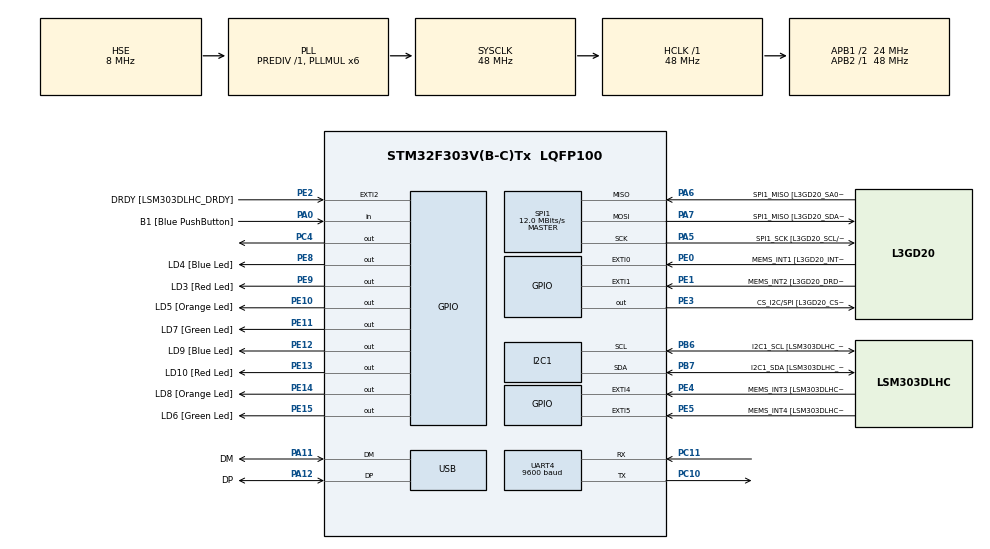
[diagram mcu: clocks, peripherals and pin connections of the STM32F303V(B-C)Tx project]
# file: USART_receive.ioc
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I2C1.Timing=0x2000090E
I2C1.Timing-I2C=0x2000090E
Mcu.Family=STM32F3
Mcu.Name=STM32F303V(B-C)Tx
Mcu.Package=LQFP100
NVIC.PriorityGroup=NVIC_PRIORITYGROUP_0
PA0.GPIO_Label=B1 [Blue PushButton]
PA0.Signal=GPIO_Input
PA11.GPIO_Label=DM
PA11.Mode=Device
PA11.Signal=USB_DM
PA12.GPIO_Label=DP
PA12.Mode=Device
PA12.Signal=USB_DP
PA13.GPIO_Label=SWDIO
PA13.Mode=Serial_Wire
PA13.Signal=SYS_JTMS-SWDIO
PA14.GPIO_Label=SWCLK
PA14.Mode=Serial_Wire
PA14.Signal=SYS_JTCK-SWCLK
PA5.GPIO_Label=SPI1_SCK [L3GD20_SCL/SPC]
PA5.Mode=Full_Duplex_Master
PA5.Signal=SPI1_SCK
PA6.GPIO_Label=SPI1_MISO [L3GD20_SA0/SDO]
PA6.Mode=Full_Duplex_Master
PA6.Signal=SPI1_MISO
PA7.GPIO_Label=SPI1_MISO [L3GD20_SDA/SDI/SDO]
PA7.Mode=Full_Duplex_Master
PA7.Signal=SPI1_MOSI
PB3.GPIO_Label=SWO
PB3.Signal=SYS_JTDO-TRACESWO
PB6.GPIO_Label=I2C1_SCL [LSM303DLHC_SCL]
PB6.GPIO_Pu=GPIO_PULLUP
PB6.Mode=I2C
PB6.Signal=I2C1_SCL
PB7.GPIO_Label=I2C1_SDA [LSM303DLHC_SDA]
PB7.GPIO_Pu=GPIO_PULLUP
PB7.Mode=I2C
PB7.Signal=I2C1_SDA
PC10.Mode=Asynchronous
PC10.Signal=UART4_TX
PC11.Mode=Asynchronous
PC11.Signal=UART4_RX
PC14-OSC32_IN.GPIO_Label=OSC32_IN
PC14-OSC32_IN.Signal=RCC_OSC32_IN
PC15-OSC32_OUT.GPIO_Label=OSC32_OUT
PC15-OSC32_OUT.Signal=RCC_OSC32_OUT
PC4.Signal=GPIO_Output
PE0.GPIO_Label=MEMS_INT1 [L3GD20_INT1]
PE0.GPIO_ModeDefaultEXTI=GPIO_MODE_EVT_RISING
PE0.Signal=GPXTI0
PE1.GPIO_Label=MEMS_INT2 [L3GD20_DRDY/INT2]
PE1.GPIO_ModeDefaultEXTI=GPIO_MODE_EVT_RISING
PE1.Signal=GPXTI1
PE10.GPIO_Label=LD5 [Orange Led]
PE10.Signal=GPIO_Output
PE11.GPIO_Label=LD7 [Green Led]
PE11.Signal=GPIO_Output
PE12.GPIO_Label=LD9 [Blue Led]
PE12.Signal=GPIO_Output
PE13.GPIO_Label=LD10 [Red Led]
PE13.Signal=GPIO_Output
PE14.GPIO_Label=LD8 [Orange Led]
PE14.Signal=GPIO_Output
PE15.GPIO_Label=LD6 [Green Led]
PE15.Signal=GPIO_Output
PE2.GPIO_Label=DRDY [LSM303DLHC_DRDY]
PE2.GPIO_ModeDefaultEXTI=GPIO_MODE_EVT_RISING
PE2.Signal=GPXTI2
PE3.GPIO_Label=CS_I2C/SPI [L3GD20_CS_I2C/SPI]
PE3.Signal=GPIO_Output
PE4.GPIO_Label=MEMS_INT3 [LSM303DLHC_INT1]
PE4.GPIO_ModeDefaultEXTI=GPIO_MODE_EVT_RISING
PE4.Signal=GPXTI4
PE5.GPIO_Label=MEMS_INT4 [LSM303DLHC_INT2]
PE5.GPIO_ModeDefaultEXTI=GPIO_MODE_EVT_RISING
PE5.Signal=GPXTI5
PE8.GPIO_Label=LD4 [Blue Led]
PE8.Signal=GPIO_Output
PE9.GPIO_Label=LD3 [Red Led]
PE9.Signal=GPIO_Output
PF0-OSC_IN.GPIO_Label=OSC_IN
PF0-OSC_IN.Mode=HSE-External-Clock-Source
PF0-OSC_IN.Signal=RCC_OSC_IN
PF1-OSC_OUT.GPIO_Label=OSC_OUT
PF1-OSC_OUT.Signal=RCC_OSC_OUT
ProjectManager.HeapSize=0x200
ProjectManager.StackSize=0x400
ProjectManager.TargetToolchain=STM32CubeIDE
RCC.AHBFreq_Value=48000000
RCC.APB1CLKDivider=RCC_HCLK_DIV2
RCC.APB1Freq_Value=24000000
RCC.APB1TimFreq_Value=48000000
RCC.APB2Freq_Value=48000000
RCC.APB2TimFreq_Value=48000000
RCC.CortexFreq_Value=48000000
RCC.HCLKFreq_Value=48000000
RCC.HSE_VALUE=8000000
RCC.HSI_VALUE=8000000
RCC.LSE_VALUE=32768
RCC.PLLMUL=RCC_PLL_MUL6
RCC.SYSCLKFreq_VALUE=48000000
RCC.SYSCLKSourceVirtual=RCC_SYSCLKSOURCE_PLLCLK
RCC.USBFreq_Value=48000000
SPI1.BaudRatePrescaler=SPI_BAUDRATEPRESCALER_4
SPI1.BaudRatePrescaler-Full_Duplex_Master=SPI_BAUDRATEPRESCALER_2
SPI1.CalculateBaudRate=12.0 MBits/s
SPI1.CalculateBaudRate-Full_Duplex_Master=24.0 MBits/s
SPI1.Direction=SPI_DIRECTION_2LINES
SPI1.Mode=SPI_MODE_MASTER
SPI1.Mode-Full_Duplex_Master=SPI_MODE_MASTER
SPI1.VirtualType=VM_MASTER
UART4.BaudRate=9600
board=STM32F3DISCOVERY

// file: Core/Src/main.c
/* USER CODE BEGIN Header */
/**
  ******************************************************************************
  * @file           : main.c
  * @brief          : Main program body
  ******************************************************************************
  * @attention
  *
  * Copyright (c) 2025 STMicroelectronics.
  * All rights reserved.
  *
  * This software is licensed under terms that can be found in the LICENSE file
  * in the root directory of this software component.
  * If no LICENSE file comes with this software, it is provided AS-IS.
  *
  ******************************************************************************
  */
/* USER CODE END Header */
#include "main.h"

/* USER CODE BEGIN Includes */
#include "fft_math.h"
#include "arm_fft.h"
/* USER CODE END Includes */

I2C_HandleTypeDef hi2c1;

SPI_HandleTypeDef hspi1;

UART_HandleTypeDef huart4;

PCD_HandleTypeDef hpcd_USB_FS;

void SystemClock_Config(void);
static void MX_GPIO_Init(void);
static void MX_I2C1_Init(void);
static void MX_SPI1_Init(void);
static void MX_UART4_Init(void);
static void MX_USB_PCD_Init(void);

int main(void)
{

  /* MCU Configuration--------------------------------------------------------*/

  /* Reset of all peripherals, Initializes the Flash interface and the Systick. */
  HAL_Init();

  /* Configure the system clock */
  SystemClock_Config();

  /* Initialize all configured peripherals */
  MX_GPIO_Init();
  MX_I2C1_Init();
  MX_SPI1_Init();
  MX_UART4_Init();
  MX_USB_PCD_Init();
  /* USER CODE BEGIN 2 */
  uint8_t elements[256];
  Complesso x[256];
  Complesso X[256];
  float magnitude[256];
  uint8_t indici[256];

  HAL_UART_Receive(&huart4, elements, 256, 100000);

  // scriviamo il codice per ricostruire il segnale compresso
  for(int i=0; i<256; i++){
	  x[i].re = ((float)elements[i] / 127.5)-1;
  }

  arm_fft(x,X,256);
  fft_to_spectrogram(X, magnitude, 256, -80.0f);

  for(int i=0; i<256; i++){
	  indici[i] = (uint8_t)(magnitude[i]*255);
  }

  HAL_GPIO_WritePin(GPIOC, GPIO_PIN_4, GPIO_PIN_SET);
  HAL_Delay(100);
  HAL_GPIO_WritePin(GPIOC, GPIO_PIN_4, GPIO_PIN_RESET);
  HAL_Delay(100);

  HAL_UART_Transmit(&huart4, indici, 256, 1000);
  /* USER CODE END 2 */

  /* Infinite loop */
  while (1)
  {

    /* USER CODE BEGIN 3 */
	  HAL_GPIO_WritePin(GPIOC, GPIO_PIN_4, GPIO_PIN_SET);
	  HAL_Delay(100);
	  HAL_GPIO_WritePin(GPIOC, GPIO_PIN_4, GPIO_PIN_RESET);
	  HAL_Delay(100);
  }
  /* USER CODE END 3 */
}

void SystemClock_Config(void)
{
  RCC_OscInitTypeDef RCC_OscInitStruct = {0};
  RCC_ClkInitTypeDef RCC_ClkInitStruct = {0};
  RCC_PeriphCLKInitTypeDef PeriphClkInit = {0};

  /** Initializes the RCC Oscillators according to the specified parameters
  * in the RCC_OscInitTypeDef structure.
  */
  RCC_OscInitStruct.OscillatorType = RCC_OSCILLATORTYPE_HSI|RCC_OSCILLATORTYPE_HSE;
  RCC_OscInitStruct.HSEState = RCC_HSE_BYPASS;
  RCC_OscInitStruct.HSEPredivValue = RCC_HSE_PREDIV_DIV1;
  RCC_OscInitStruct.HSIState = RCC_HSI_ON;
  RCC_OscInitStruct.HSICalibrationValue = RCC_HSICALIBRATION_DEFAULT;
  RCC_OscInitStruct.PLL.PLLState = RCC_PLL_ON;
  RCC_OscInitStruct.PLL.PLLSource = RCC_PLLSOURCE_HSE;
  RCC_OscInitStruct.PLL.PLLMUL = RCC_PLL_MUL6;
  if (HAL_RCC_OscConfig(&RCC_OscInitStruct) != HAL_OK)
  {
    Error_Handler();
  }

  /** Initializes the CPU, AHB and APB buses clocks
  */
  RCC_ClkInitStruct.ClockType = RCC_CLOCKTYPE_HCLK|RCC_CLOCKTYPE_SYSCLK
                              |RCC_CLOCKTYPE_PCLK1|RCC_CLOCKTYPE_PCLK2;
  RCC_ClkInitStruct.SYSCLKSource = RCC_SYSCLKSOURCE_PLLCLK;
  RCC_ClkInitStruct.AHBCLKDivider = RCC_SYSCLK_DIV1;
  RCC_ClkInitStruct.APB1CLKDivider = RCC_HCLK_DIV2;
  RCC_ClkInitStruct.APB2CLKDivider = RCC_HCLK_DIV1;

  if (HAL_RCC_ClockConfig(&RCC_ClkInitStruct, FLASH_LATENCY_1) != HAL_OK)
  {
    Error_Handler();
  }
  PeriphClkInit.PeriphClockSelection = RCC_PERIPHCLK_USB|RCC_PERIPHCLK_UART4
                              |RCC_PERIPHCLK_I2C1;
  PeriphClkInit.Uart4ClockSelection = RCC_UART4CLKSOURCE_PCLK1;
  PeriphClkInit.I2c1ClockSelection = RCC_I2C1CLKSOURCE_HSI;
  PeriphClkInit.USBClockSelection = RCC_USBCLKSOURCE_PLL;
  if (HAL_RCCEx_PeriphCLKConfig(&PeriphClkInit) != HAL_OK)
  {
    Error_Handler();
  }
}

static void MX_I2C1_Init(void)
{

  hi2c1.Instance = I2C1;
  hi2c1.Init.Timing = 0x2000090E;
  hi2c1.Init.OwnAddress1 = 0;
  hi2c1.Init.AddressingMode = I2C_ADDRESSINGMODE_7BIT;
  hi2c1.Init.DualAddressMode = I2C_DUALADDRESS_DISABLE;
  hi2c1.Init.OwnAddress2 = 0;
  hi2c1.Init.OwnAddress2Masks = I2C_OA2_NOMASK;
  hi2c1.Init.GeneralCallMode = I2C_GENERALCALL_DISABLE;
  hi2c1.Init.NoStretchMode = I2C_NOSTRETCH_DISABLE;
  if (HAL_I2C_Init(&hi2c1) != HAL_OK)
  {
    Error_Handler();
  }

  /** Configure Analogue filter
  */
  if (HAL_I2CEx_ConfigAnalogFilter(&hi2c1, I2C_ANALOGFILTER_ENABLE) != HAL_OK)
  {
    Error_Handler();
  }

  /** Configure Digital filter
  */
  if (HAL_I2CEx_ConfigDigitalFilter(&hi2c1, 0) != HAL_OK)
  {
    Error_Handler();
  }

}

static void MX_SPI1_Init(void)
{

  /* SPI1 parameter configuration*/
  hspi1.Instance = SPI1;
  hspi1.Init.Mode = SPI_MODE_MASTER;
  hspi1.Init.Direction = SPI_DIRECTION_2LINES;
  hspi1.Init.DataSize = SPI_DATASIZE_4BIT;
  hspi1.Init.CLKPolarity = SPI_POLARITY_LOW;
  hspi1.Init.CLKPhase = SPI_PHASE_1EDGE;
  hspi1.Init.NSS = SPI_NSS_SOFT;
  hspi1.Init.BaudRatePrescaler = SPI_BAUDRATEPRESCALER_4;
  hspi1.Init.FirstBit = SPI_FIRSTBIT_MSB;
  hspi1.Init.TIMode = SPI_TIMODE_DISABLE;
  hspi1.Init.CRCCalculation = SPI_CRCCALCULATION_DISABLE;
  hspi1.Init.CRCPolynomial = 7;
  hspi1.Init.CRCLength = SPI_CRC_LENGTH_DATASIZE;
  hspi1.Init.NSSPMode = SPI_NSS_PULSE_ENABLE;
  if (HAL_SPI_Init(&hspi1) != HAL_OK)
  {
    Error_Handler();
  }

}

static void MX_UART4_Init(void)
{

  huart4.Instance = UART4;
  huart4.Init.BaudRate = 9600;
  huart4.Init.WordLength = UART_WORDLENGTH_8B;
  huart4.Init.StopBits = UART_STOPBITS_1;
  huart4.Init.Parity = UART_PARITY_NONE;
  huart4.Init.Mode = UART_MODE_TX_RX;
  huart4.Init.HwFlowCtl = UART_HWCONTROL_NONE;
  huart4.Init.OverSampling = UART_OVERSAMPLING_16;
  huart4.Init.OneBitSampling = UART_ONE_BIT_SAMPLE_DISABLE;
  huart4.AdvancedInit.AdvFeatureInit = UART_ADVFEATURE_NO_INIT;
  if (HAL_UART_Init(&huart4) != HAL_OK)
  {
    Error_Handler();
  }

}

static void MX_USB_PCD_Init(void)
{

  hpcd_USB_FS.Instance = USB;
  hpcd_USB_FS.Init.dev_endpoints = 8;
  hpcd_USB_FS.Init.speed = PCD_SPEED_FULL;
  hpcd_USB_FS.Init.phy_itface = PCD_PHY_EMBEDDED;
  hpcd_USB_FS.Init.low_power_enable = DISABLE;
  hpcd_USB_FS.Init.battery_charging_enable = DISABLE;
  if (HAL_PCD_Init(&hpcd_USB_FS) != HAL_OK)
  {
    Error_Handler();
  }

}

static void MX_GPIO_Init(void)
{
  GPIO_InitTypeDef GPIO_InitStruct = {0};

  /* GPIO Ports Clock Enable */
  __HAL_RCC_GPIOE_CLK_ENABLE();
  __HAL_RCC_GPIOC_CLK_ENABLE();
  __HAL_RCC_GPIOF_CLK_ENABLE();
  __HAL_RCC_GPIOA_CLK_ENABLE();
  __HAL_RCC_GPIOB_CLK_ENABLE();

  /*Configure GPIO pin Output Level */
  HAL_GPIO_WritePin(GPIOE, CS_I2C_SPI_Pin|LD4_Pin|LD3_Pin|LD5_Pin
                          |LD7_Pin|LD9_Pin|LD10_Pin|LD8_Pin
                          |LD6_Pin, GPIO_PIN_RESET);

  /*Configure GPIO pin Output Level */
  HAL_GPIO_WritePin(GPIOC, GPIO_PIN_4, GPIO_PIN_RESET);

  /*Configure GPIO pins : DRDY_Pin MEMS_INT3_Pin MEMS_INT4_Pin MEMS_INT1_Pin
                           MEMS_INT2_Pin */
  GPIO_InitStruct.Pin = DRDY_Pin|MEMS_INT3_Pin|MEMS_INT4_Pin|MEMS_INT1_Pin
                          |MEMS_INT2_Pin;
  GPIO_InitStruct.Mode = GPIO_MODE_EVT_RISING;
  GPIO_InitStruct.Pull = GPIO_NOPULL;
  HAL_GPIO_Init(GPIOE, &GPIO_InitStruct);

  /*Configure GPIO pins : CS_I2C_SPI_Pin LD4_Pin LD3_Pin LD5_Pin
                           LD7_Pin LD9_Pin LD10_Pin LD8_Pin
                           LD6_Pin */
  GPIO_InitStruct.Pin = CS_I2C_SPI_Pin|LD4_Pin|LD3_Pin|LD5_Pin
                          |LD7_Pin|LD9_Pin|LD10_Pin|LD8_Pin
                          |LD6_Pin;
  GPIO_InitStruct.Mode = GPIO_MODE_OUTPUT_PP;
  GPIO_InitStruct.Pull = GPIO_NOPULL;
  GPIO_InitStruct.Speed = GPIO_SPEED_FREQ_LOW;
  HAL_GPIO_Init(GPIOE, &GPIO_InitStruct);

  /*Configure GPIO pin : B1_Pin */
  GPIO_InitStruct.Pin = B1_Pin;
  GPIO_InitStruct.Mode = GPIO_MODE_INPUT;
  GPIO_InitStruct.Pull = GPIO_NOPULL;
  HAL_GPIO_Init(B1_GPIO_Port, &GPIO_InitStruct);

  /*Configure GPIO pin : PC4 */
  GPIO_InitStruct.Pin = GPIO_PIN_4;
  GPIO_InitStruct.Mode = GPIO_MODE_OUTPUT_PP;
  GPIO_InitStruct.Pull = GPIO_NOPULL;
  GPIO_InitStruct.Speed = GPIO_SPEED_FREQ_LOW;
  HAL_GPIO_Init(GPIOC, &GPIO_InitStruct);

}

void Error_Handler(void)
{
  __disable_irq();
  while (1)
  {
  }
}
